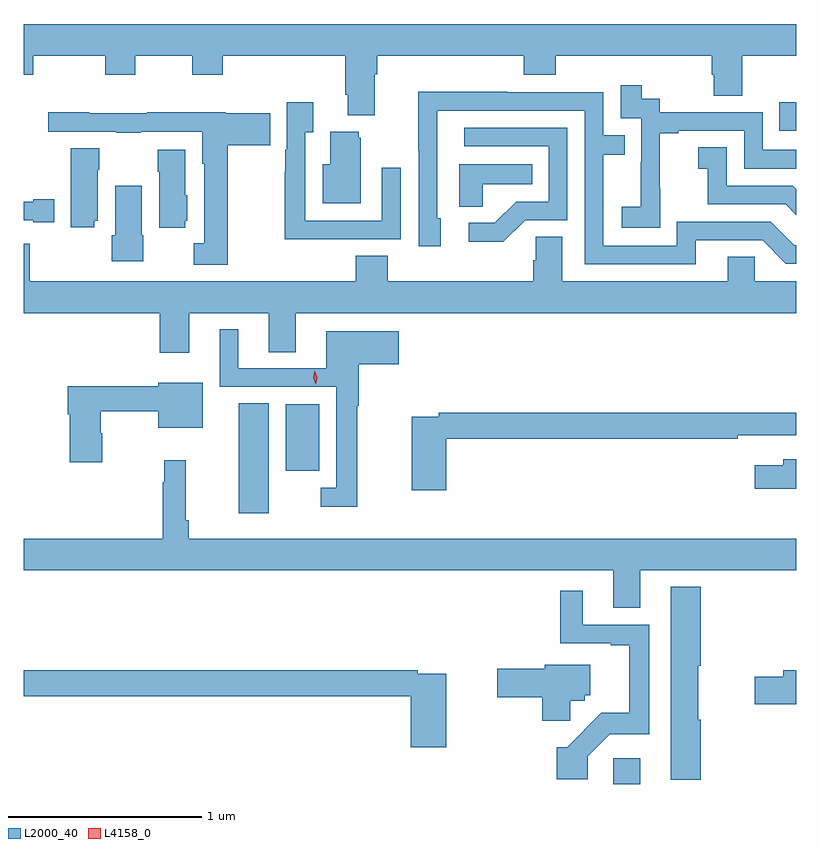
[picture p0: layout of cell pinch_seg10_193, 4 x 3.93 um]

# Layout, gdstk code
import gdstk
lib = gdstk.Library(unit=1e-6, precision=1e-09)
def R(c, l, rs):  # rectangles x0, y0, x1, y1
    for r in rs: c.add(gdstk.rectangle(r[:2], r[2:], *l))
def P(c, l, *ps):  # polygons
    for p in ps: c.add(gdstk.Polygon(p, *l))
L2000_40 = (2000, 40)
L4158_0 = (4158, 0)

pinch_seg10_193 = lib.new_cell('pinch_seg10_193')
R(pinch_seg10_193, L2000_40, [(804.186,1272.57,804.325,1272.703), (802.247,1273.971,802.402,1274.54), (802.49,1274.192,802.663,1274.536), (805.045,1275.951,805.134,1276.099)])
P(pinch_seg10_193, L2000_40, [(801.134,1276.241),(801.183,1276.241),(801.183,1276.34),(801.556,1276.34),(801.556,1276.241),(801.711,1276.241),(801.711,1276.34),(802.006,1276.34),(802.006,1276.241),(802.166,1276.241),(802.166,1276.34),(802.799,1276.34),(802.799,1276.138),(802.811,1276.138),(802.811,1276.031),(802.951,1276.031),(802.951,1276.244),(802.964,1276.244),(802.964,1276.34),(803.723,1276.34),(803.723,1276.241),(803.888,1276.241),(803.888,1276.34),(804.695,1276.34),(804.695,1276.242),(804.707,1276.242),(804.707,1276.132),(804.855,1276.132),(804.855,1276.34),(805.134,1276.34),(805.134,1276.504),(801.134,1276.504)],
  [(804.429,1275.655),(804.428,1275.655),(804.428,1275.939),(804.523,1275.939),(804.523,1275.951),(804.864,1275.951),(804.864,1275.756),(805.134,1275.756),(805.134,1275.852),(804.96,1275.852),(804.96,1276.047),(804.426,1276.047),(804.426,1276.116),(804.334,1276.116),(804.334,1276.186),(804.225,1276.186),(804.225,1276.017),(804.33,1276.017),(804.33,1275.788),(804.329,1275.788),(804.329,1275.559),(804.231,1275.559),(804.231,1275.449),(804.429,1275.449)],
  [(804.613,1275.384),(804.96,1275.384),(805.08,1275.264),(805.134,1275.264),(805.134,1275.36),(805.122,1275.36),(805.002,1275.48),(804.516,1275.48),(804.516,1275.357),(804.135,1275.357),(804.135,1275.826),(804.245,1275.826),(804.245,1275.927),(804.135,1275.927),(804.135,1276.152),(803.639,1276.152),(803.639,1276.154),(803.176,1276.154),(803.176,1275.847),(803.178,1275.847),(803.178,1275.354),(803.293,1275.354),(803.293,1275.498),(803.274,1275.498),(803.274,1276.056),(804.039,1276.056),(804.039,1275.261),(804.613,1275.261)],
  [(802.769,1275.39),(803.085,1275.39),(803.085,1275.76),(802.989,1275.76),(802.989,1275.486),(802.593,1275.486),(802.593,1275.943),(802.633,1275.943),(802.633,1276.099),(802.497,1276.099),(802.497,1275.854),(802.489,1275.854),(802.489,1275.74),(802.485,1275.74),(802.485,1275.389),(802.769,1275.389)],
  [(802.191,1275.876),(802.411,1275.876),(802.411,1276.042),(802.179,1276.042),(802.179,1276.046),(801.773,1276.046),(801.773,1276.043),(801.473,1276.043),(801.473,1276.046),(801.261,1276.046),(801.261,1275.945),(801.613,1275.945),(801.613,1275.94),(801.74,1275.94),(801.74,1275.945),(802.058,1275.945),(802.058,1275.78),(802.07,1275.78),(802.07,1275.37),(802.014,1275.37),(802.014,1275.257),(802.191,1275.257)],
  [(803.73,1275.489),(803.949,1275.489),(803.949,1275.966),(803.415,1275.966),(803.415,1275.87),(803.853,1275.87),(803.853,1275.585),(803.684,1275.585),(803.573,1275.474),(803.439,1275.474),(803.439,1275.377),(803.617,1275.377)],
  [(802.879,1275.915),(802.868,1275.915),(802.868,1275.946),(802.721,1275.946),(802.721,1275.778),(802.682,1275.778),(802.682,1275.575),(802.879,1275.575)],
  [(805.134,1275.648),(805.116,1275.666),(804.774,1275.666),(804.774,1275.865),(804.627,1275.865),(804.627,1275.755),(804.676,1275.755),(804.676,1275.57),(805.079,1275.57),(805.134,1275.515)],
  [(801.499,1275.486),(801.517,1275.486),(801.517,1275.749),(801.525,1275.749),(801.525,1275.86),(801.377,1275.86),(801.377,1275.452),(801.499,1275.452)],
  [(801.97,1275.486),(801.982,1275.486),(801.982,1275.618),(801.97,1275.618),(801.97,1275.853),(801.829,1275.853),(801.829,1275.74),(801.836,1275.74),(801.836,1275.449),(801.97,1275.449)],
  [(803.511,1275.674),(803.768,1275.674),(803.768,1275.778),(803.39,1275.778),(803.39,1275.559),(803.511,1275.559)],
  [(801.754,1275.411),(801.745,1275.411),(801.745,1275.667),(801.608,1275.667),(801.608,1275.411),(801.589,1275.411),(801.589,1275.275),(801.754,1275.275)],
  [(801.292,1275.598),(801.185,1275.598),(801.185,1275.585),(801.134,1275.585),(801.134,1275.489),(801.185,1275.489),(801.185,1275.477),(801.292,1275.477)],
  [(801.991,1275.008),(802.403,1275.008),(802.403,1274.806),(802.543,1274.806),(802.543,1275.008),(805.134,1275.008),(805.134,1275.172),(804.918,1275.172),(804.918,1275.299),(804.779,1275.299),(804.779,1275.172),(803.923,1275.172),(803.923,1275.404),(803.784,1275.404),(803.784,1275.281),(803.771,1275.281),(803.771,1275.172),(803.018,1275.172),(803.018,1275.305),(802.853,1275.305),(802.853,1275.172),(801.165,1275.172),(801.165,1275.367),(801.134,1275.367),(801.134,1275.008),(801.839,1275.008),(801.839,1274.802),(801.991,1274.802)],
  [(802.861,1274.528),(802.868,1274.528),(802.868,1274.744),(803.077,1274.744),(803.077,1274.914),(802.7,1274.914),(802.7,1274.721),(802.246,1274.721),(802.246,1274.923),(802.148,1274.923),(802.148,1274.625),(802.752,1274.625),(802.752,1274.103),(802.671,1274.103),(802.671,1274.006),(802.861,1274.006)],
  [(801.54,1274.385),(801.532,1274.385),(801.532,1274.5),(801.83,1274.5),(801.83,1274.414),(802.06,1274.414),(802.06,1274.647),(801.83,1274.647),(801.83,1274.629),(801.362,1274.629),(801.362,1274.483),(801.374,1274.483),(801.374,1274.235),(801.54,1274.235)],
  [(803.321,1274.356),(804.83,1274.356),(804.83,1274.376),(805.134,1274.376),(805.134,1274.492),(803.284,1274.492),(803.284,1274.472),(803.143,1274.472),(803.143,1274.091),(803.321,1274.091)],
  [(805.134,1274.25),(805.067,1274.25),(805.067,1274.221),(804.918,1274.221),(804.918,1274.099),(805.134,1274.099)],
  [(804.325,1273.676),(805.134,1273.676),(805.134,1273.84),(801.989,1273.84),(801.989,1273.936),(801.974,1273.936),(801.974,1274.245),(801.861,1274.245),(801.861,1274.132),(801.853,1274.132),(801.853,1273.84),(801.134,1273.84),(801.134,1273.676),(804.185,1273.676),(804.185,1273.482),(804.325,1273.482)],
  [(804.638,1272.903),(804.625,1272.903),(804.625,1273.181),(804.638,1273.181),(804.638,1273.591),(804.485,1273.591),(804.485,1272.593),(804.638,1272.593)],
  [(804.054,1272.714),(804.168,1272.828),(804.373,1272.828),(804.373,1273.395),(804.028,1273.395),(804.028,1273.57),(803.911,1273.57),(803.911,1273.299),(804.173,1273.299),(804.173,1273.287),(804.269,1273.287),(804.269,1272.938),(804.125,1272.938),(803.947,1272.76),(803.894,1272.76),(803.894,1272.594),(804.054,1272.594)],
  [(803.963,1273.002),(804.039,1273.002),(804.039,1273.029),(804.067,1273.029),(804.067,1273.186),(803.831,1273.186),(803.831,1273.166),(803.586,1273.166),(803.586,1273.019),(803.819,1273.019),(803.819,1272.897),(803.963,1272.897)],
  [(805.134,1273.16),(805.067,1273.16),(805.067,1273.124),(804.918,1273.124),(804.918,1272.982),(805.134,1272.982)],
  [(803.321,1273.14),(803.174,1273.14),(803.174,1273.16),(801.134,1273.16),(801.134,1273.024),(803.138,1273.024),(803.138,1272.759),(803.321,1272.759)])
P(pinch_seg10_193, L4158_0, [(802.645,1274.638),(802.645,1274.638),(802.633,1274.673),(802.641,1274.71),(802.641,1274.71),(802.641,1274.71),(802.653,1274.674),(802.646,1274.638)])

lib.write_gds('pinch_seg10_193.gds')
